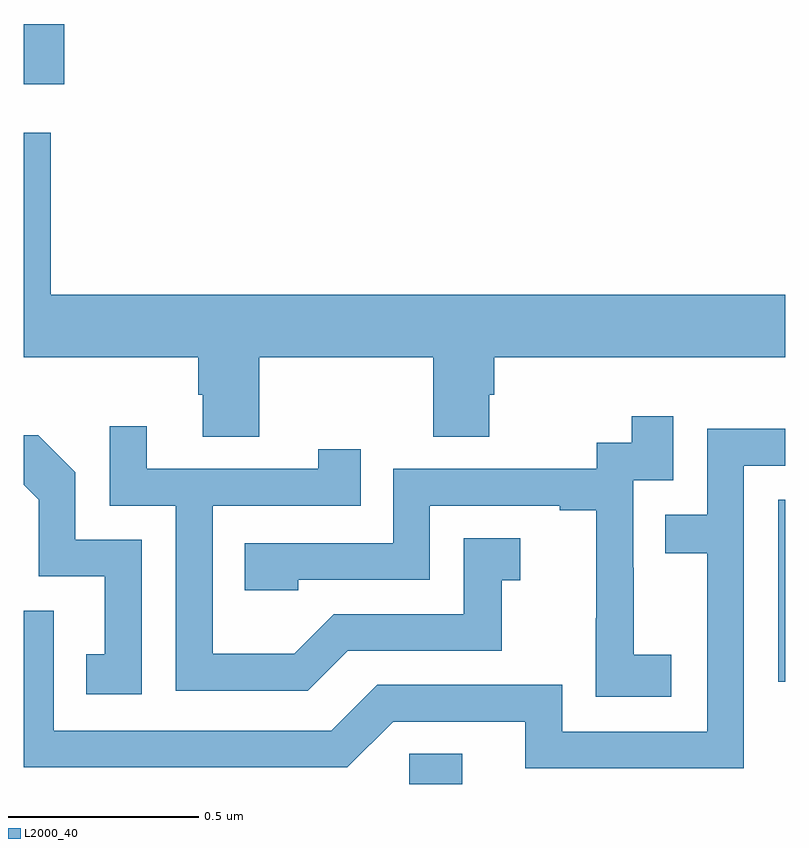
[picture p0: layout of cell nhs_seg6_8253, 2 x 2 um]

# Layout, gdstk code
import gdstk
lib = gdstk.Library(unit=1e-6, precision=1e-09)
def R(c, l, rs):  # rectangles x0, y0, x1, y1
    for r in rs: c.add(gdstk.rectangle(r[:2], r[2:], *l))
def P(c, l, *ps):  # polygons
    for p in ps: c.add(gdstk.Polygon(p, *l))
L2000_40 = (2000, 40)

nhs_seg6_8253 = lib.new_cell('nhs_seg6_8253')
R(nhs_seg6_8253, L2000_40, [(219.012,995.5,219.151,995.579), (219.981,995.769,220,996.246), (218,997.337,218.107,997.495)])
P(nhs_seg6_8253, L2000_40, [(218.619,996.62),(219.076,996.62),(219.076,996.412),(219.223,996.412),(219.223,996.522),(219.236,996.522),(219.236,996.62),(220,996.62),(220,996.784),(218.072,996.784),(218.072,997.21),(218,997.21),(218,996.62),(218.459,996.62),(218.459,996.522),(218.471,996.522),(218.471,996.412),(218.619,996.412)],
  [(219.7,995.839),(219.602,995.839),(219.602,996.068),(219.6,996.068),(219.6,996.297),(219.705,996.297),(219.705,996.466),(219.597,996.466),(219.597,996.396),(219.504,996.396),(219.504,996.327),(218.97,996.327),(218.97,996.132),(218.581,996.132),(218.581,996.009),(218.721,996.009),(218.721,996.036),(219.066,996.036),(219.066,996.231),(219.407,996.231),(219.407,996.219),(219.503,996.219),(219.503,995.935),(219.502,995.935),(219.502,995.729),(219.7,995.729)],
  [(218.851,995.85),(219.255,995.85),(219.255,996.035),(219.304,996.035),(219.304,996.145),(219.156,996.145),(219.156,995.946),(218.814,995.946),(218.71,995.842),(218.496,995.842),(218.496,996.231),(218.885,996.231),(218.885,996.379),(218.774,996.379),(218.774,996.327),(218.323,996.327),(218.323,996.439),(218.226,996.439),(218.226,996.231),(218.4,996.231),(218.4,995.745),(218.746,995.745)],
  [(219.891,996.336),(220,996.336),(220,996.432),(219.795,996.432),(219.795,996.207),(219.685,996.207),(219.685,996.106),(219.795,996.106),(219.795,995.637),(219.414,995.637),(219.414,995.76),(218.928,995.76),(218.808,995.64),(218.079,995.64),(218.079,995.955),(218,995.955),(218,995.544),(218.85,995.544),(218.97,995.664),(219.317,995.664),(219.317,995.541),(219.891,995.541)],
  [(218.31,996.141),(218.136,996.141),(218.136,996.318),(218.038,996.416),(218,996.416),(218,996.286),(218.04,996.246),(218.04,996.045),(218.213,996.045),(218.213,995.841),(218.164,995.841),(218.164,995.736),(218.31,995.736)])

lib.write_gds('nhs_seg6_8253.gds')
